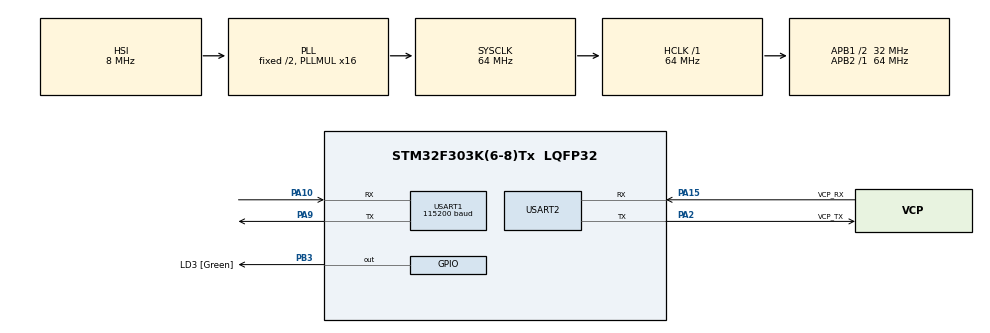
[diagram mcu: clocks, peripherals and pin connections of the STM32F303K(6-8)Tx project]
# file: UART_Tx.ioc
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Mcu.Family=STM32F3
Mcu.Name=STM32F303K(6-8)Tx
Mcu.Package=LQFP32
NVIC.PriorityGroup=NVIC_PRIORITYGROUP_4
PA10.Mode=Asynchronous
PA10.Signal=USART1_RX
PA13.GPIO_Label=SWDIO
PA13.Mode=Serial_Wire
PA13.Signal=SYS_JTMS-SWDIO
PA14.GPIO_Label=SWCLK
PA14.Mode=Serial_Wire
PA14.Signal=SYS_JTCK-SWCLK
PA15.GPIO_Label=VCP_RX
PA15.Mode=Asynchronous
PA15.Signal=USART2_RX
PA2.GPIO_Label=VCP_TX
PA2.Mode=Asynchronous
PA2.Signal=USART2_TX
PA9.Mode=Asynchronous
PA9.Signal=USART1_TX
PB3.GPIO_Label=LD3 [Green]
PB3.Signal=GPIO_Output
PF0\ /\ OSC_IN.GPIO_Label=MCO
PF0\ /\ OSC_IN.Mode=HSE-External-Clock-Source
PF0\ /\ OSC_IN.Signal=RCC_OSC_IN
ProjectManager.HeapSize=0x200
ProjectManager.StackSize=0x400
ProjectManager.TargetToolchain=TrueSTUDIO
RCC.AHBFreq_Value=64000000
RCC.APB1CLKDivider=RCC_HCLK_DIV2
RCC.APB1Freq_Value=32000000
RCC.APB1TimFreq_Value=64000000
RCC.APB2Freq_Value=64000000
RCC.APB2TimFreq_Value=64000000
RCC.CortexFreq_Value=64000000
RCC.HCLKFreq_Value=64000000
RCC.HSE_VALUE=8000000
RCC.HSI_VALUE=8000000
RCC.PLLMUL=RCC_PLL_MUL16
RCC.SYSCLKFreq_VALUE=64000000
RCC.SYSCLKSourceVirtual=RCC_SYSCLKSOURCE_PLLCLK
USART1.BaudRate=115200
USART1.OneBitSampling=UART_ONE_BIT_SAMPLE_DISABLE
USART1.OverSampling=UART_OVERSAMPLING_16
USART1.VirtualMode-Asynchronous=VM_ASYNC
USART2.VirtualMode-Asynchronous=VM_ASYNC
board=NUCLEO-F303K8

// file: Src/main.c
/* USER CODE BEGIN Header */
/**
  ******************************************************************************
  * @file           : main.c
  * @brief          : Main program body
  ******************************************************************************
  ** This notice applies to any and all portions of this file
  * that are not between comment pairs USER CODE BEGIN and
  * USER CODE END. Other portions of this file, whether
  * inserted by the user or by software development tools
  * are owned by their respective copyright owners.
  *
  * COPYRIGHT(c) 2019 STMicroelectronics
  *
  * Redistribution and use in source and binary forms, with or without modification,
  * are permitted provided that the following conditions are met:
  *   1. Redistributions of source code must retain the above copyright notice,
  *      this list of conditions and the following disclaimer.
  *   2. Redistributions in binary form must reproduce the above copyright notice,
  *      this list of conditions and the following disclaimer in the documentation
  *      and/or other materials provided with the distribution.
  *   3. Neither the name of STMicroelectronics nor the names of its contributors
  *      may be used to endorse or promote products derived from this software
  *      without specific prior written permission.
  *
  * THIS SOFTWARE IS PROVIDED BY THE COPYRIGHT HOLDERS AND CONTRIBUTORS "AS IS"
  * AND ANY EXPRESS OR IMPLIED WARRANTIES, INCLUDING, BUT NOT LIMITED TO, THE
  * IMPLIED WARRANTIES OF MERCHANTABILITY AND FITNESS FOR A PARTICULAR PURPOSE ARE
  * DISCLAIMED. IN NO EVENT SHALL THE COPYRIGHT HOLDER OR CONTRIBUTORS BE LIABLE
  * FOR ANY DIRECT, INDIRECT, INCIDENTAL, SPECIAL, EXEMPLARY, OR CONSEQUENTIAL
  * DAMAGES (INCLUDING, BUT NOT LIMITED TO, PROCUREMENT OF SUBSTITUTE GOODS OR
  * SERVICES; LOSS OF USE, DATA, OR PROFITS; OR BUSINESS INTERRUPTION) HOWEVER
  * CAUSED AND ON ANY THEORY OF LIABILITY, WHETHER IN CONTRACT, STRICT LIABILITY,
  * OR TORT (INCLUDING NEGLIGENCE OR OTHERWISE) ARISING IN ANY WAY OUT OF THE USE
  * OF THIS SOFTWARE, EVEN IF ADVISED OF THE POSSIBILITY OF SUCH DAMAGE.
  *
  ******************************************************************************
  */
/* USER CODE END Header */

#include "main.h"

UART_HandleTypeDef huart1;
UART_HandleTypeDef huart2;

void SystemClock_Config(void);
static void MX_GPIO_Init(void);
static void MX_USART2_UART_Init(void);
static void MX_USART1_UART_Init(void);

int main(void)
{

  /* MCU Configuration--------------------------------------------------------*/

  /* Reset of all peripherals, Initializes the Flash interface and the Systick. */
  HAL_Init();

  /* Configure the system clock */
  SystemClock_Config();

  /* Initialize all configured peripherals */
  MX_GPIO_Init();
  MX_USART2_UART_Init();
  MX_USART1_UART_Init();
  /* USER CODE BEGIN 2 */
  uint8_t nota_on[3];
   	nota_on[0] = 0b10010000;
   	nota_on[1] = 0;
   	nota_on[2] = 0;

   	uint8_t nota_off[3];
   	nota_off[0] = 0b00000000;
   	nota_off[1] = 0;
   	nota_off[2] = 0;

   	for(uint8_t i=1;i<89;i++){
   		nota_on[1]= nota_on[1]+1;
   		HAL_UART_Transmit(&huart1, nota_on, sizeof(nota_on), 10);
  		HAL_GPIO_TogglePin(GPIOB, GPIO_PIN_3);
  		HAL_Delay(500);
  		HAL_UART_Transmit(&huart1, nota_off, sizeof(nota_off), 10);
  		HAL_Delay(500);
   	}

  /* USER CODE END 2 */

  /* Infinite loop */
  while (1)
  {

  }
}

void SystemClock_Config(void)
{
  RCC_OscInitTypeDef RCC_OscInitStruct = {0};
  RCC_ClkInitTypeDef RCC_ClkInitStruct = {0};
  RCC_PeriphCLKInitTypeDef PeriphClkInit = {0};

  /**Initializes the CPU, AHB and APB busses clocks
  */
  RCC_OscInitStruct.OscillatorType = RCC_OSCILLATORTYPE_HSI;
  RCC_OscInitStruct.HSIState = RCC_HSI_ON;
  RCC_OscInitStruct.HSICalibrationValue = RCC_HSICALIBRATION_DEFAULT;
  RCC_OscInitStruct.PLL.PLLState = RCC_PLL_ON;
  RCC_OscInitStruct.PLL.PLLSource = RCC_PLLSOURCE_HSI;
  RCC_OscInitStruct.PLL.PLLMUL = RCC_PLL_MUL16;
  if (HAL_RCC_OscConfig(&RCC_OscInitStruct) != HAL_OK)
  {
    Error_Handler();
  }
  /**Initializes the CPU, AHB and APB busses clocks
  */
  RCC_ClkInitStruct.ClockType = RCC_CLOCKTYPE_HCLK|RCC_CLOCKTYPE_SYSCLK
                              |RCC_CLOCKTYPE_PCLK1|RCC_CLOCKTYPE_PCLK2;
  RCC_ClkInitStruct.SYSCLKSource = RCC_SYSCLKSOURCE_PLLCLK;
  RCC_ClkInitStruct.AHBCLKDivider = RCC_SYSCLK_DIV1;
  RCC_ClkInitStruct.APB1CLKDivider = RCC_HCLK_DIV2;
  RCC_ClkInitStruct.APB2CLKDivider = RCC_HCLK_DIV1;

  if (HAL_RCC_ClockConfig(&RCC_ClkInitStruct, FLASH_LATENCY_2) != HAL_OK)
  {
    Error_Handler();
  }
  PeriphClkInit.PeriphClockSelection = RCC_PERIPHCLK_USART1;
  PeriphClkInit.Usart1ClockSelection = RCC_USART1CLKSOURCE_PCLK1;
  if (HAL_RCCEx_PeriphCLKConfig(&PeriphClkInit) != HAL_OK)
  {
    Error_Handler();
  }
}

static void MX_USART1_UART_Init(void)
{

  huart1.Instance = USART1;
  huart1.Init.BaudRate = 31250;
  huart1.Init.WordLength = UART_WORDLENGTH_8B;
  huart1.Init.StopBits = UART_STOPBITS_1;
  huart1.Init.Parity = UART_PARITY_NONE;
  huart1.Init.Mode = UART_MODE_TX_RX;
  huart1.Init.HwFlowCtl = UART_HWCONTROL_NONE;
  huart1.Init.OverSampling = UART_OVERSAMPLING_16;
  huart1.Init.OneBitSampling = UART_ONE_BIT_SAMPLE_DISABLE;
  huart1.AdvancedInit.AdvFeatureInit = UART_ADVFEATURE_NO_INIT;
  if (HAL_UART_Init(&huart1) != HAL_OK)
  {
    Error_Handler();
  }

}

static void MX_USART2_UART_Init(void)
{

  huart2.Instance = USART2;
  huart2.Init.BaudRate = 38400;
  huart2.Init.WordLength = UART_WORDLENGTH_8B;
  huart2.Init.StopBits = UART_STOPBITS_1;
  huart2.Init.Parity = UART_PARITY_NONE;
  huart2.Init.Mode = UART_MODE_TX_RX;
  huart2.Init.HwFlowCtl = UART_HWCONTROL_NONE;
  huart2.Init.OverSampling = UART_OVERSAMPLING_16;
  huart2.Init.OneBitSampling = UART_ONE_BIT_SAMPLE_DISABLE;
  huart2.AdvancedInit.AdvFeatureInit = UART_ADVFEATURE_NO_INIT;
  if (HAL_UART_Init(&huart2) != HAL_OK)
  {
    Error_Handler();
  }

}

static void MX_GPIO_Init(void)
{
  GPIO_InitTypeDef GPIO_InitStruct = {0};

  /* GPIO Ports Clock Enable */
  __HAL_RCC_GPIOF_CLK_ENABLE();
  __HAL_RCC_GPIOA_CLK_ENABLE();
  __HAL_RCC_GPIOB_CLK_ENABLE();

  /*Configure GPIO pin Output Level */
  HAL_GPIO_WritePin(LD3_GPIO_Port, LD3_Pin, GPIO_PIN_RESET);

  /*Configure GPIO pin : LD3_Pin */
  GPIO_InitStruct.Pin = LD3_Pin;
  GPIO_InitStruct.Mode = GPIO_MODE_OUTPUT_PP;
  GPIO_InitStruct.Pull = GPIO_NOPULL;
  GPIO_InitStruct.Speed = GPIO_SPEED_FREQ_LOW;
  HAL_GPIO_Init(LD3_GPIO_Port, &GPIO_InitStruct);

}

void Error_Handler(void)
{
}

/************************ (C) COPYRIGHT STMicroelectronics *****END OF FILE****/
